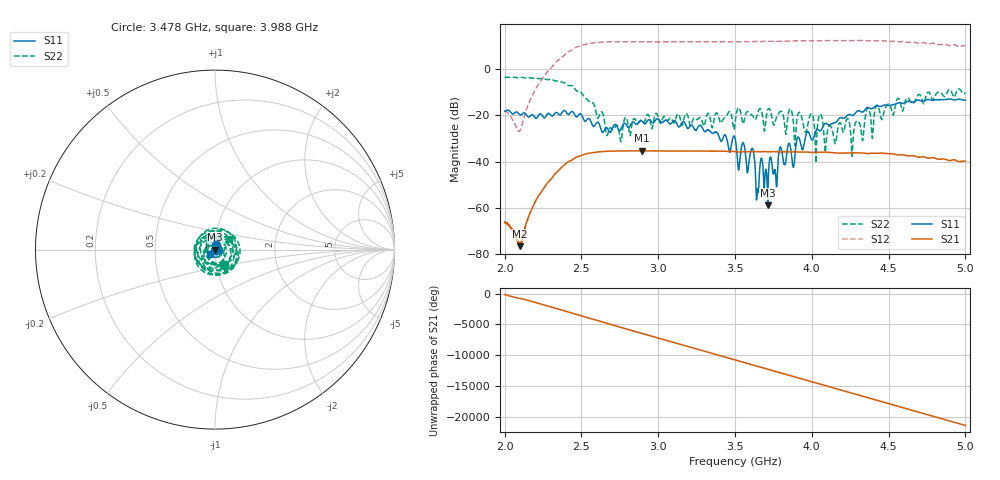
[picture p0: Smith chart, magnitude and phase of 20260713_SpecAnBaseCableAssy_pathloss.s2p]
!Keysight Technologies,P5024B,MY61400434,A.20.20.03
!Date: Monday, July 13, 2026 10:08:23
!Correction: S11(C  2-Port  )
!S21(C  2-Port  )
!S12(C  2-Port  )
!S22(C  2-Port  )
!S2P File: Measurements: S11, S21, S12, S22:
# Hz S  dB  R 50
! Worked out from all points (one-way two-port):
!   3001 points, 2 GHz to 5 GHz, reference 50 ohm
!   highest |S21| = -35.34 dB at 2.896 GHz (marker M1); lowest = -76.6 dB at 2.1 GHz (marker M2)
!   lowest |S11| = -58.8 dB at 3.713 GHz (marker M3), VSWR 1.00, Z = 50.1 + j0.0481 ohm
!   |S11| at or under -10 dB: start of sweep to end of sweep
!   |S22| runs from -40.5 to -3.5 dB; largest |S21 - S12| = 4.2
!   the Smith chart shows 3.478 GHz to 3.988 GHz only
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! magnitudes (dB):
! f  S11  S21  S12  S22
! 2 GHz  -18.3  -66.0  -17.9  -3.6
! 2.1 GHz  -19.8  -76.6  -26.7  -3.6
! 2.267 GHz  -20.6  -50.2  -2.1  -4.4
! 2.5 GHz  -19.7  -37.4  10.2  -10.2
! 2.67 GHz  -25.7  -35.5  11.8  -28.3
! 2.896 GHz  -22.7  -35.3  11.8  -22.6
! 3 GHz  -21.6  -35.4  11.8  -20.7
! 3.5 GHz  -29.8  -35.6  11.9  -23.5
! 3.524 GHz  -43.3  -35.9  11.8  -16.8
! 3.614 GHz  -34.3  -35.7  11.9  -20.1
! 3.645 GHz  -52.9  -35.7  11.9  -19.8
! 3.671 GHz  -38.5  -35.7  11.9  -17.7
! 3.713 GHz  -58.8  -35.8  12.0  -17.7
! 4 GHz  -30.6  -36.0  12.2  -19.3
! 4.025 GHz  -26.9  -36.0  12.3  -37.3
! 4.056 GHz  -26.7  -36.0  12.2  -19.4
! 4.09 GHz  -23.4  -35.9  12.3  -34.8
! 4.232 GHz  -19.9  -36.2  12.3  -21.3
! 4.264 GHz  -20.1  -36.2  12.3  -36.0
! 4.363 GHz  -16.6  -36.5  12.2  -16.9
! 4.5 GHz  -15.7  -36.6  12.1  -15.1
! 5 GHz  -13.4  -39.9  10.0  -10.2
